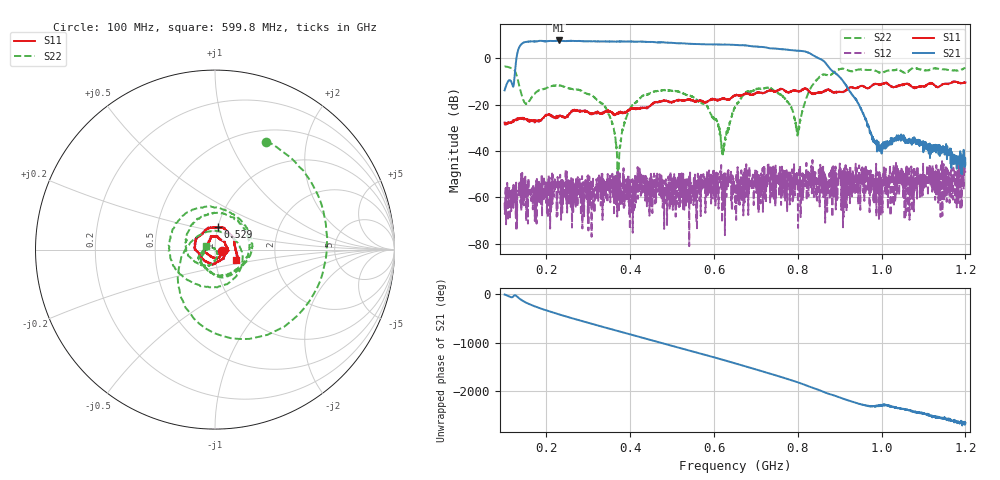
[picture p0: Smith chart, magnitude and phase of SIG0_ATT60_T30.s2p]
# Hz S DB R 50
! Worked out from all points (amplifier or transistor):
!   1601 points, 100 MHz to 1.2 GHz, reference 50 ohm
!   highest |S21| = 7.7 dB at 229.2 MHz (marker M1)
!   |S21| within 3 dB of that: 134.7 MHz to 723.2 MHz (588.5 MHz wide, 137 % of centre)
!   unconditionally stable (mu >= 1): start of sweep to end of sweep
!   at 282.9 MHz: K = 190.86, MAG = 7.7 dB, |S12| = -59.5 dB
!   at 650 MHz: K = 136.57, MAG = 5.9 dB, |S12| = -54.8 dB
!   at 1.2 GHz: K = 15885.24, MAG = -43.3 dB, |S12| = -49.3 dB
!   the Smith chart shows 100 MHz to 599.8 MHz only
!   S11 on the Smith chart (normalised r, x): 100 MHz: 1.08, -0.02; 529 MHz: 1.00, +0.25; 599.8 MHz: 1.26, -0.15
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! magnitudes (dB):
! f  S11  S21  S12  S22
! 100 MHz  -27.8  -13.8  -62.4  -3.5
! 119.9 MHz  -26.8  -12.2  -55.3  -4.5
! 141.2 MHz  -26.2  6.4  -62.7  -16.1
! 229.2 MHz  -25.3  7.7  -53.3  -11.7
! 283.6 MHz  -22.7  7.4  -54.2  -14.0
! 342.7 MHz  -22.9  7.3  -53.5  -22.0
! 370.9 MHz  -23.6  7.3  -49.0  -55.5
! 401.1 MHz  -21.7  7.3  -59.1  -21.1
! 420.4 MHz  -21.8  7.2  -54.1  -17.7
! 467.1 MHz  -19.0  7.0  -55.0  -13.9
! 529 MHz  -18.0  6.5  -65.4  -15.4
! 599.8 MHz  -17.6  6.0  -47.9  -25.3
! 621.8 MHz  -17.2  6.0  -65.2  -40.4
! 650 MHz  -16.0  5.8  -54.8  -21.0
! 733.2 MHz  -13.9  4.4  -52.5  -12.8
! 779.2 MHz  -14.6  3.7  -53.0  -19.7
! 799.9 MHz  -14.3  3.3  -57.9  -31.9
! 833.6 MHz  -15.4  1.7  -58.3  -11.9
! 911.2 MHz  -14.3  -10.6  -47.5  -4.6
! 990.3 MHz  -11.1  -39.6  -52.6  -5.8
! 1.017 GHz  -11.4  -36.2  -50.7  -5.2
! 1.2 GHz  -10.4  -45.8  -49.3  -4.1
